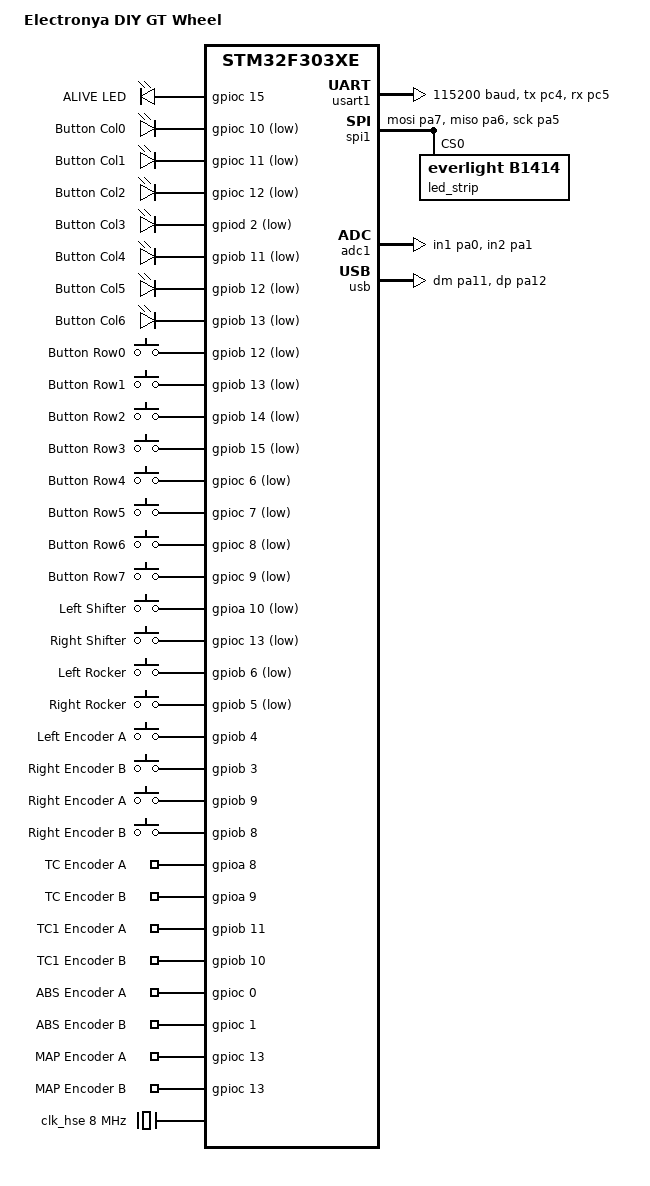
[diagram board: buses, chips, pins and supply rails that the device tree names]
/*
 * Copyright (c) 2020 Paul M. Bendixen
 *
 * SPDX-License-Identifier: Apache-2.0
 */

/dts-v1/;
#include <st/f3/stm32f303Xe.dtsi>
#include <st/f3/stm32f303r(d-e)tx-pinctrl.dtsi>
#include <zephyr/dt-bindings/led/led.h>

#include "./ws2812B-bindings.h"

/ {
	model = "Electronya DIY GT Wheel";
	compatible = "en,enya-t-wheel";

	chosen {
		zephyr,console = &usart1;
		zephyr,shell-uart = &usart1;
		zephyr,sram = &sram0;
		zephyr,flash = &flash0;
	};

	leds {
		compatible = "gpio-leds";
		led_alive: led_alive {
			gpios = <&gpioc 15 GPIO_ACTIVE_HIGH>;
			label = "ALIVE LED";
		};

    /* the following are not LED but merely output GPIOs */
    btn_col0: btn_col0 {
			gpios = <&gpioc 10 GPIO_ACTIVE_LOW>;
			label = "Button Col0";
		};
    btn_col1: btn_col1 {
			gpios = <&gpioc 11 GPIO_ACTIVE_LOW>;
			label = "Button Col1";
		};
    btn_col2: btn_col2 {
			gpios = <&gpioc 12 GPIO_ACTIVE_LOW>;
			label = "Button Col2";
		};
    btn_col3: btn_col3 {
			gpios = <&gpiod 2 GPIO_ACTIVE_LOW>;
			label = "Button Col3";
		};
    btn_col4: btn_col4 {
			gpios = <&gpiob 11 GPIO_ACTIVE_LOW>;
			label = "Button Col4";
		};
    btn_col5: btn_col5 {
			gpios = <&gpiob 12 GPIO_ACTIVE_LOW>;
			label = "Button Col5";
		};
    btn_col6: btn_col6 {
			gpios = <&gpiob 13 GPIO_ACTIVE_LOW>;
			label = "Button Col6";
		};
	};

	gpio_keys {
		compatible = "gpio-keys";
    /* following are merely inputs */
		btn_row0: btn_row0 {
			gpios = <&gpiob 12 (GPIO_ACTIVE_LOW | GPIO_PULL_UP)>;
      label = "Button Row0";
		};
    btn_row1: btn_row1 {
			gpios = <&gpiob 13 (GPIO_ACTIVE_LOW | GPIO_PULL_UP)>;
      label = "Button Row1";
		};
    btn_row2: btn_row2 {
			gpios = <&gpiob 14 (GPIO_ACTIVE_LOW | GPIO_PULL_UP)>;
      label = "Button Row2";
		};
    btn_row3: btn_row3 {
			gpios = <&gpiob 15 (GPIO_ACTIVE_LOW | GPIO_PULL_UP)>;
      label = "Button Row3";
		};
    btn_row4: btn_row4 {
			gpios = <&gpioc 6 (GPIO_ACTIVE_LOW | GPIO_PULL_UP)>;
      label = "Button Row4";
		};
    btn_row5: btn_row5 {
			gpios = <&gpioc 7 (GPIO_ACTIVE_LOW | GPIO_PULL_UP)>;
      label = "Button Row5";
		};
    btn_row6: btn_row6 {
			gpios = <&gpioc 8 (GPIO_ACTIVE_LOW | GPIO_PULL_UP)>;
      label = "Button Row6";
		};
    btn_row7: btn_row7 {
			gpios = <&gpioc 9 (GPIO_ACTIVE_LOW | GPIO_PULL_UP)>;
      label = "Button Row7";
		};
    left_shifter: left_shifter {
			gpios = <&gpioa 10 (GPIO_ACTIVE_LOW)>;
      label = "Left Shifter";
		};
    right_shifter: right_shifter {
			gpios = <&gpioc 13 (GPIO_ACTIVE_LOW)>;
      label = "Right Shifter";
		};
    left_rocker: left_rocker {
			gpios = <&gpiob 6 (GPIO_ACTIVE_LOW)>;
      label = "Left Rocker";
		};
    right_rocker: right_rocker {
			gpios = <&gpiob 5 (GPIO_ACTIVE_LOW)>;
      label = "Right Rocker";
		};
    left_enc_a: left_enc_a {
			gpios = <&gpiob 4 (GPIO_ACTIVE_HIGH)>;
      label = "Left Encoder A";
		};
    left_enc_b: left_enc_b {
			gpios = <&gpiob 3 (GPIO_ACTIVE_HIGH)>;
      label = "Right Encoder B";
		};
    right_enc_a: right_enc_a {
			gpios = <&gpiob 9 (GPIO_ACTIVE_HIGH)>;
      label = "Right Encoder A";
		};
    right_enc_b: right_enc_b {
			gpios = <&gpiob 8 (GPIO_ACTIVE_HIGH)>;
      label = "Right Encoder B";
		};
    tc_enc_a: tc_enc_a {
			gpios = <&gpioa 8 (GPIO_ACTIVE_HIGH)>;
      label = "TC Encoder A";
		};
    tc_enc_b: tc_enc_b {
			gpios = <&gpioa 9 (GPIO_ACTIVE_HIGH)>;
      label = "TC Encoder B";
		};
    tc1_enc_a: tc1_enc_a {
			gpios = <&gpiob 11 (GPIO_ACTIVE_HIGH)>;
      label = "TC1 Encoder A";
		};
    tc1_enc_b: tc1_enc_b {
			gpios = <&gpiob 10 (GPIO_ACTIVE_HIGH)>;
      label = "TC1 Encoder B";
		};
    abs_enc_a: abs_enc_a {
			gpios = <&gpioc 0 (GPIO_ACTIVE_HIGH)>;
      label = "ABS Encoder A";
		};
    abs_enc_b: abs_enc_b {
			gpios = <&gpioc 1 (GPIO_ACTIVE_HIGH)>;
      label = "ABS Encoder B";
		};
    map_enc_a: map_enc_a {
			gpios = <&gpioc 13 (GPIO_ACTIVE_HIGH)>;
      label = "MAP Encoder A";
		};
    map_enc_b: map_enc_b {
			gpios = <&gpioc 13 (GPIO_ACTIVE_HIGH)>;
      label = "MAP Encoder B";
		};
	};

	aliases {
    /* led alive */
		alive = &led_alive;
		/* button columns */
    col0 = &btn_col0;
    col1 = &btn_col1;
    col2 = &btn_col2;
    col3 = &btn_col3;
    /* button rows */
    row0 = &btn_row0;
    row1 = &btn_row1;
    row2 = &btn_row2;
    row3 = &btn_row3;
    row4 = &btn_row4;
    row5 = &btn_row5;
    row6 = &btn_row6;
    row7 = &btn_row7;
    /* shifter */
    left-shifter = &left_shifter;
    right-shifter = &right_shifter;
    /* rocker */
    left-rocker = &left_rocker;
    right-rocker = &right_rocker;
    /* encoders */
    left-enc-a = &left_enc_a;
    left-enc-b = &left_enc_b;
    right-enc-a = &right_enc_a;
    right-enc-b = &right_enc_b;
    tc-enc-a = &tc_enc_a;
    tc-enc-b = &tc_enc_b;
    tc1-enc-a = &tc1_enc_a;
    tc1-enc-b = &tc1_enc_b;
    abs-enc-a = &abs_enc_a;
    abs-enc-b = &abs_enc_b;
    map-enc-a = &map_enc_a;
    map-enc-b = &map_enc_b;
    /* led strip */
    ledstrip = &led_strip;
    /* adc */
    adc = &adc1;
    /* usb */
    usb = &usb;
    /* watchdog */
    iwdg = &iwdg;
	};
};

&clk_lsi {
	status = "okay";
};

&clk_hse {
	hse-bypass;
	clock-frequency = <DT_FREQ_M(8)>; /* STLink 8MHz clock */
	status = "okay";
};

&pll {
	prediv = <1>;
	mul = <9>;
	clocks = <&clk_hse>;
	status = "okay";
};

&rcc {
	clocks = <&pll>;
	clock-frequency = <DT_FREQ_M(72)>;
	ahb-prescaler = <1>;
	apb1-prescaler = <2>;
	apb2-prescaler = <1>;
};

&usart1 {
	pinctrl-0 = <&usart1_tx_pc4 &usart1_rx_pc5>;
	pinctrl-names = "default";
	current-speed = <115200>;
	status = "okay";
};

&spi1 {
	pinctrl-0 = <&spi1_mosi_pa7 &spi1_miso_pa6 &spi1_sck_pa5>;
	pinctrl-names = "default";
	status = "okay";

  dmas = <&dma1 3 (STM32_DMA_PERIPH_TX | STM32_DMA_PRIORITY_HIGH)>,
		     <&dma1 2 (STM32_DMA_PERIPH_RX | STM32_DMA_PRIORITY_HIGH)>;
	dma-names = "tx", "rx";

  led_strip: ws2812@0 {
		compatible = "everlight,b1414", "worldsemi,ws2812-spi";
    status = "okay";
		/* SPI */
		reg = <0>; /* ignored, but necessary for SPI bindings */
		spi-max-frequency = <SPI_FREQ>;
		/* WS2812 */
		chain-length = <14>;
		color-mapping = <LED_COLOR_ID_GREEN
                     LED_COLOR_ID_RED
                     LED_COLOR_ID_BLUE>;
		spi-one-frame = <ONE_FRAME>;
		spi-zero-frame = <ZERO_FRAME>;
    reset-delay = <250>;
	};
};

&adc1 {
  status = "okay";
  pinctrl-names = "default";
  pinctrl-0 = <&adc1_in1_pa0 &adc1_in2_pa1>;
};

&usb {
  status = "okay";
  pinctrl-0 = <&usb_dm_pa11 &usb_dp_pa12>;
	pinctrl-names = "default";
};

&iwdg {
  // TODO: enable at the end of dev.
	status = "disabled";
};

&dma1 {
  status = "okay";
};
